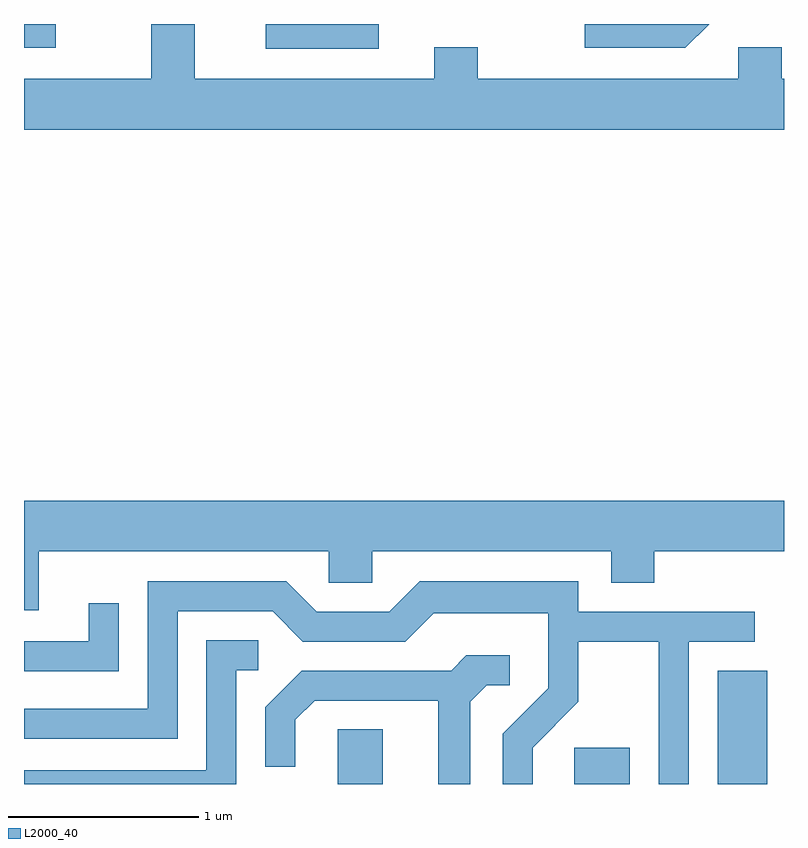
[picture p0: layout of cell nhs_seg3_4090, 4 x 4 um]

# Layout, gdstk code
import gdstk
lib = gdstk.Library(unit=1e-6, precision=1e-09)
def R(c, l, rs):  # rectangles x0, y0, x1, y1
    for r in rs: c.add(gdstk.rectangle(r[:2], r[2:], *l))
def P(c, l, *ps):  # polygons
    for p in ps: c.add(gdstk.Polygon(p, *l))
L2000_40 = (2000, 40)

nhs_seg3_4090 = lib.new_cell('nhs_seg3_4090')
R(nhs_seg3_4090, L2000_40, [(307.261,1135.892,307.499,1136.179), (308.506,1135.892,308.799,1136.084), (309.261,1135.892,309.524,1136.489), (306.883,1139.761,307.479,1139.892), (305.611,1139.766,305.779,1139.892)])
P(nhs_seg3_4090, L2000_40, [(309.611,1139.604),(309.599,1139.604),(309.599,1139.769),(309.371,1139.769),(309.371,1139.604),(307.999,1139.604),(307.999,1139.769),(307.771,1139.769),(307.771,1139.604),(306.509,1139.604),(306.509,1139.892),(306.281,1139.892),(306.281,1139.604),(305.611,1139.604),(305.611,1139.336),(309.611,1139.336)],
  [(309.217,1139.892),(308.563,1139.892),(308.563,1139.766),(309.092,1139.766)],
  [(305.689,1137.116),(307.216,1137.116),(307.216,1136.951),(307.444,1136.951),(307.444,1137.116),(308.701,1137.116),(308.701,1136.951),(308.929,1136.951),(308.929,1137.116),(309.611,1137.116),(309.611,1137.384),(305.611,1137.384),(305.611,1136.806),(305.689,1136.806)],
  [(308.289,1136.084),(308.529,1136.324),(308.529,1136.641),(308.951,1136.641),(308.951,1135.892),(309.109,1135.892),(309.109,1136.641),(309.458,1136.641),(309.458,1136.799),(308.529,1136.799),(308.529,1136.959),(307.694,1136.959),(307.534,1136.799),(307.152,1136.799),(306.992,1136.959),(306.261,1136.959),(306.261,1136.289),(305.611,1136.289),(305.611,1136.131),(306.419,1136.131),(306.419,1136.801),(306.919,1136.801),(307.079,1136.641),(307.617,1136.641),(307.767,1136.791),(308.371,1136.791),(308.371,1136.397),(308.131,1136.157),(308.131,1135.892),(308.289,1135.892)],
  [(306.109,1136.843),(305.951,1136.843),(305.951,1136.644),(305.611,1136.644),(305.611,1136.486),(306.109,1136.486)],
  [(306.729,1136.491),(306.843,1136.491),(306.843,1136.649),(306.571,1136.649),(306.571,1135.964),(305.611,1135.964),(305.611,1135.892),(306.729,1135.892)],
  [(307.959,1136.324),(308.047,1136.411),(308.168,1136.411),(308.168,1136.569),(307.939,1136.569),(307.859,1136.489),(307.074,1136.489),(306.881,1136.297),(306.881,1135.983),(307.039,1135.983),(307.039,1136.229),(307.142,1136.331),(307.791,1136.331),(307.791,1135.892),(307.959,1135.892)])

lib.write_gds('nhs_seg3_4090.gds')
